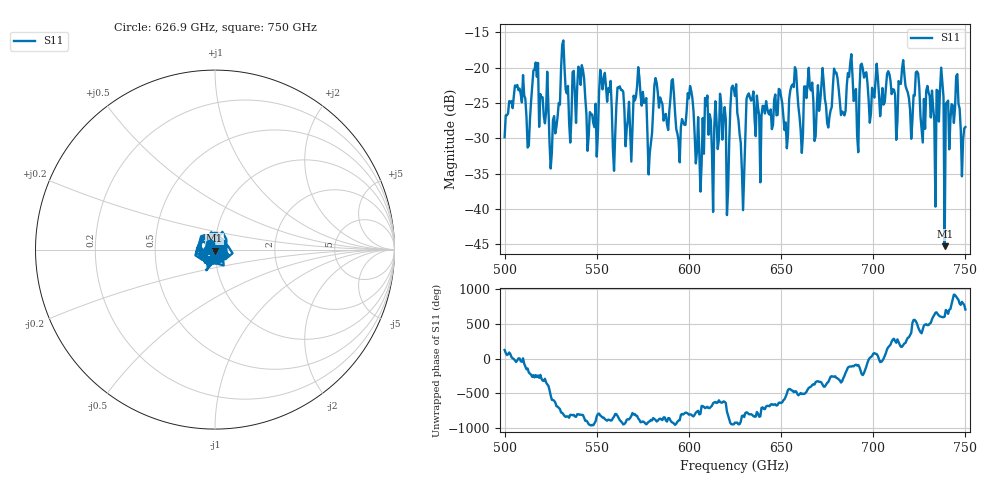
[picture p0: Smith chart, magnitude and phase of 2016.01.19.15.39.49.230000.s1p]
!Created with skrf (http://scikit-rf.org).
# GHz S RI R 50.0
!freq ReS11 ImS11
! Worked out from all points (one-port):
!   401 points, 500 GHz to 750 GHz, reference 50 ohm
!   lowest |S11| = -45.2 dB at 738.8 GHz (marker M1), VSWR 1.01, Z = 49.8 - j0.502 ohm
!   |S11| at or under -10 dB: start of sweep to end of sweep
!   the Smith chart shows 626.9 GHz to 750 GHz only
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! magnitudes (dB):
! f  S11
! 500 GHz  -29.8
! 506.9 GHz  -22.4
! 513.1 GHz  -31.0
! 516.9 GHz  -19.2
! 525.6 GHz  -32.0
! 531.2 GHz  -16.7
! 549.4 GHz  -25.1
! 553.1 GHz  -23.0
! 559.4 GHz  -34.6
! 562.5 GHz  -22.6
! 591.2 GHz  -21.6
! 593.8 GHz  -29.3
! 600.6 GHz  -22.6
! 605 GHz  -27.0
! 610 GHz  -23.9
! 621.2 GHz  -37.4
! 625 GHz  -24.0
! 629.4 GHz  -40.1
! 632.5 GHz  -23.6
! 652.5 GHz  -27.7
! 656.2 GHz  -22.4
! 660.6 GHz  -28.8
! 687.5 GHz  -19.4
! 690.6 GHz  -23.0
! 694.4 GHz  -20.2
! 718.8 GHz  -23.5
! 738.8 GHz  -45.2
! 750 GHz  -28.4
